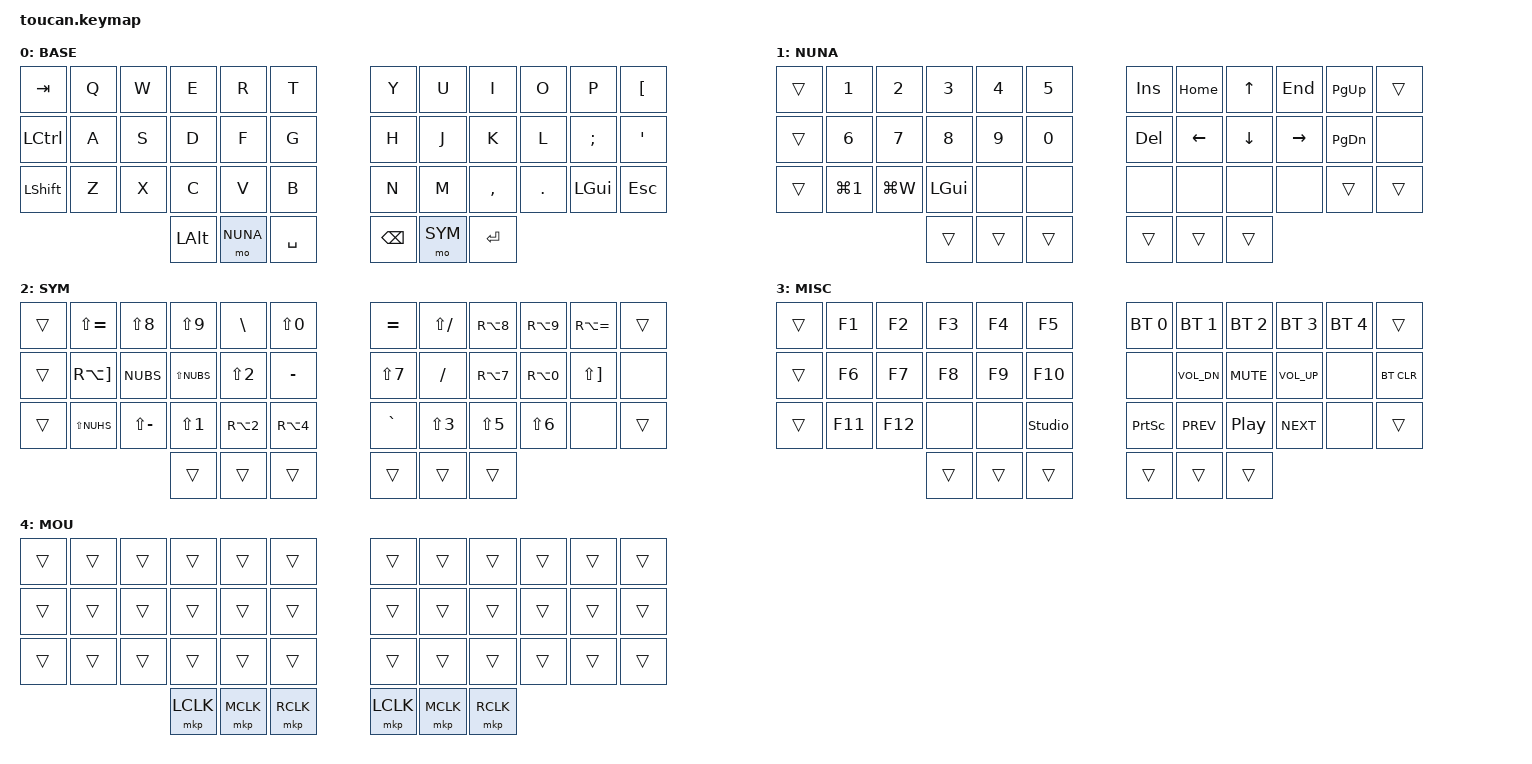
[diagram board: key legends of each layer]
#include <behaviors.dtsi>
#include <dt-bindings/zmk/keys.h>
#include <dt-bindings/zmk/bt.h>
#include <dt-bindings/zmk/outputs.h>
#include <dt-bindings/zmk/pointing.h>

#define BASE 0
#define NUNA 1 // numbers + nav
#define SYM  2
#define MISC 3
#define MOU  4

/ {
    conditional_layers {
        compatible = "zmk,conditional-layers";
        tri_layer {
            if-layers = <NUNA SYM>;
            then-layer = <MISC>;
        };
    };

    keymap {
        compatible = "zmk,keymap";

        base {
            display-name = "BASE";
            bindings = <
                &kp TAB   &kp Q &kp W &kp E &kp R &kp T        &kp Y &kp U &kp I     &kp O   &kp P    &kp LBKT
                &kp LCTRL &kp A &kp S &kp D &kp F &kp G        &kp H &kp J &kp K     &kp L   &kp SEMI &kp SQT
                &kp LSHFT &kp Z &kp X &kp C &kp V &kp B        &kp N &kp M &kp COMMA &kp DOT &kp LGUI &kp ESC
                            &kp LALT &mo NUNA &kp SPACE        &kp BSPC &mo SYM &kp RET
            >;
        };

        nuna {
            display-name = "NUNA";
            bindings = <
                &trans &kp N1     &kp N2    &kp N3   &kp N4 &kp N5          &kp INS &kp HOME &kp UP   &kp END   &kp PG_UP &trans
                &trans &kp N6     &kp N7    &kp N8   &kp N9 &kp N0          &kp DEL &kp LEFT &kp DOWN &kp RIGHT &kp PG_DN &none
                &trans &kp LG(N1) &kp LG(W) &kp LGUI &none  &none           &none   &none    &none    &none     &trans    &trans
                                              &trans &trans &trans          &trans &trans &trans
            >;
        };

        sym {
            display-name = "SYM";
            bindings = <
                &trans &kp LS(EQUAL) &kp LS(N8)    &kp LS(N9)   &kp BSLH   &kp LS(N0)        &kp EQUAL  &kp LS(FSLH) &kp RA(N8) &kp RA(N9) &kp RA(EQUAL) &trans
                &trans &kp RA(RBKT)  &kp NUBS      &kp LS(NUBS) &kp LS(N2) &kp MINUS         &kp LS(N7) &kp FSLH     &kp RA(N7) &kp RA(N0) &kp LS(RBKT)  &none
                &trans &kp LS(NUHS)  &kp LS(MINUS) &kp LS(N1)   &kp RA(N2) &kp RA(N4)        &kp GRAVE  &kp LS(N3)   &kp LS(N5) &kp LS(N6) &none         &trans
                                                                 &trans &trans &trans        &trans &trans &trans
            >;
        };

        misc {
            display-name = "MISC";
            bindings = <
                &trans &kp F1  &kp F2  &kp F3 &kp F4 &kp F5                &bt BT_SEL 0 &bt BT_SEL 1 &bt BT_SEL 2 &bt BT_SEL 3 &bt BT_SEL 4 &trans
                &trans &kp F6  &kp F7  &kp F8 &kp F9 &kp F10               &none        &kp C_VOL_DN &kp C_MUTE   &kp C_VOL_UP &none        &bt BT_CLR
                &trans &kp F11 &kp F12 &none  &none  &studio_unlock        &kp PSCRN    &kp C_PREV   &kp C_PP     &kp C_NEXT   &none        &trans
                                               &trans &trans &trans        &trans &trans &trans
            >;
        };

        mouse {
            display-name = "MOU";
            bindings = <
                &trans &trans &trans &trans &trans &trans           &trans &trans &trans &trans &trans &trans
                &trans &trans &trans &trans &trans &trans           &trans &trans &trans &trans &trans &trans
                &trans &trans &trans &trans &trans &trans           &trans &trans &trans &trans &trans &trans
                            &mkp LCLK &mkp MCLK &mkp RCLK           &mkp LCLK &mkp MCLK &mkp RCLK
            >;
        };

        extra_2 {
                status = "reserved";
        };

        extra_3 {
                status = "reserved";
        };
    };
};
